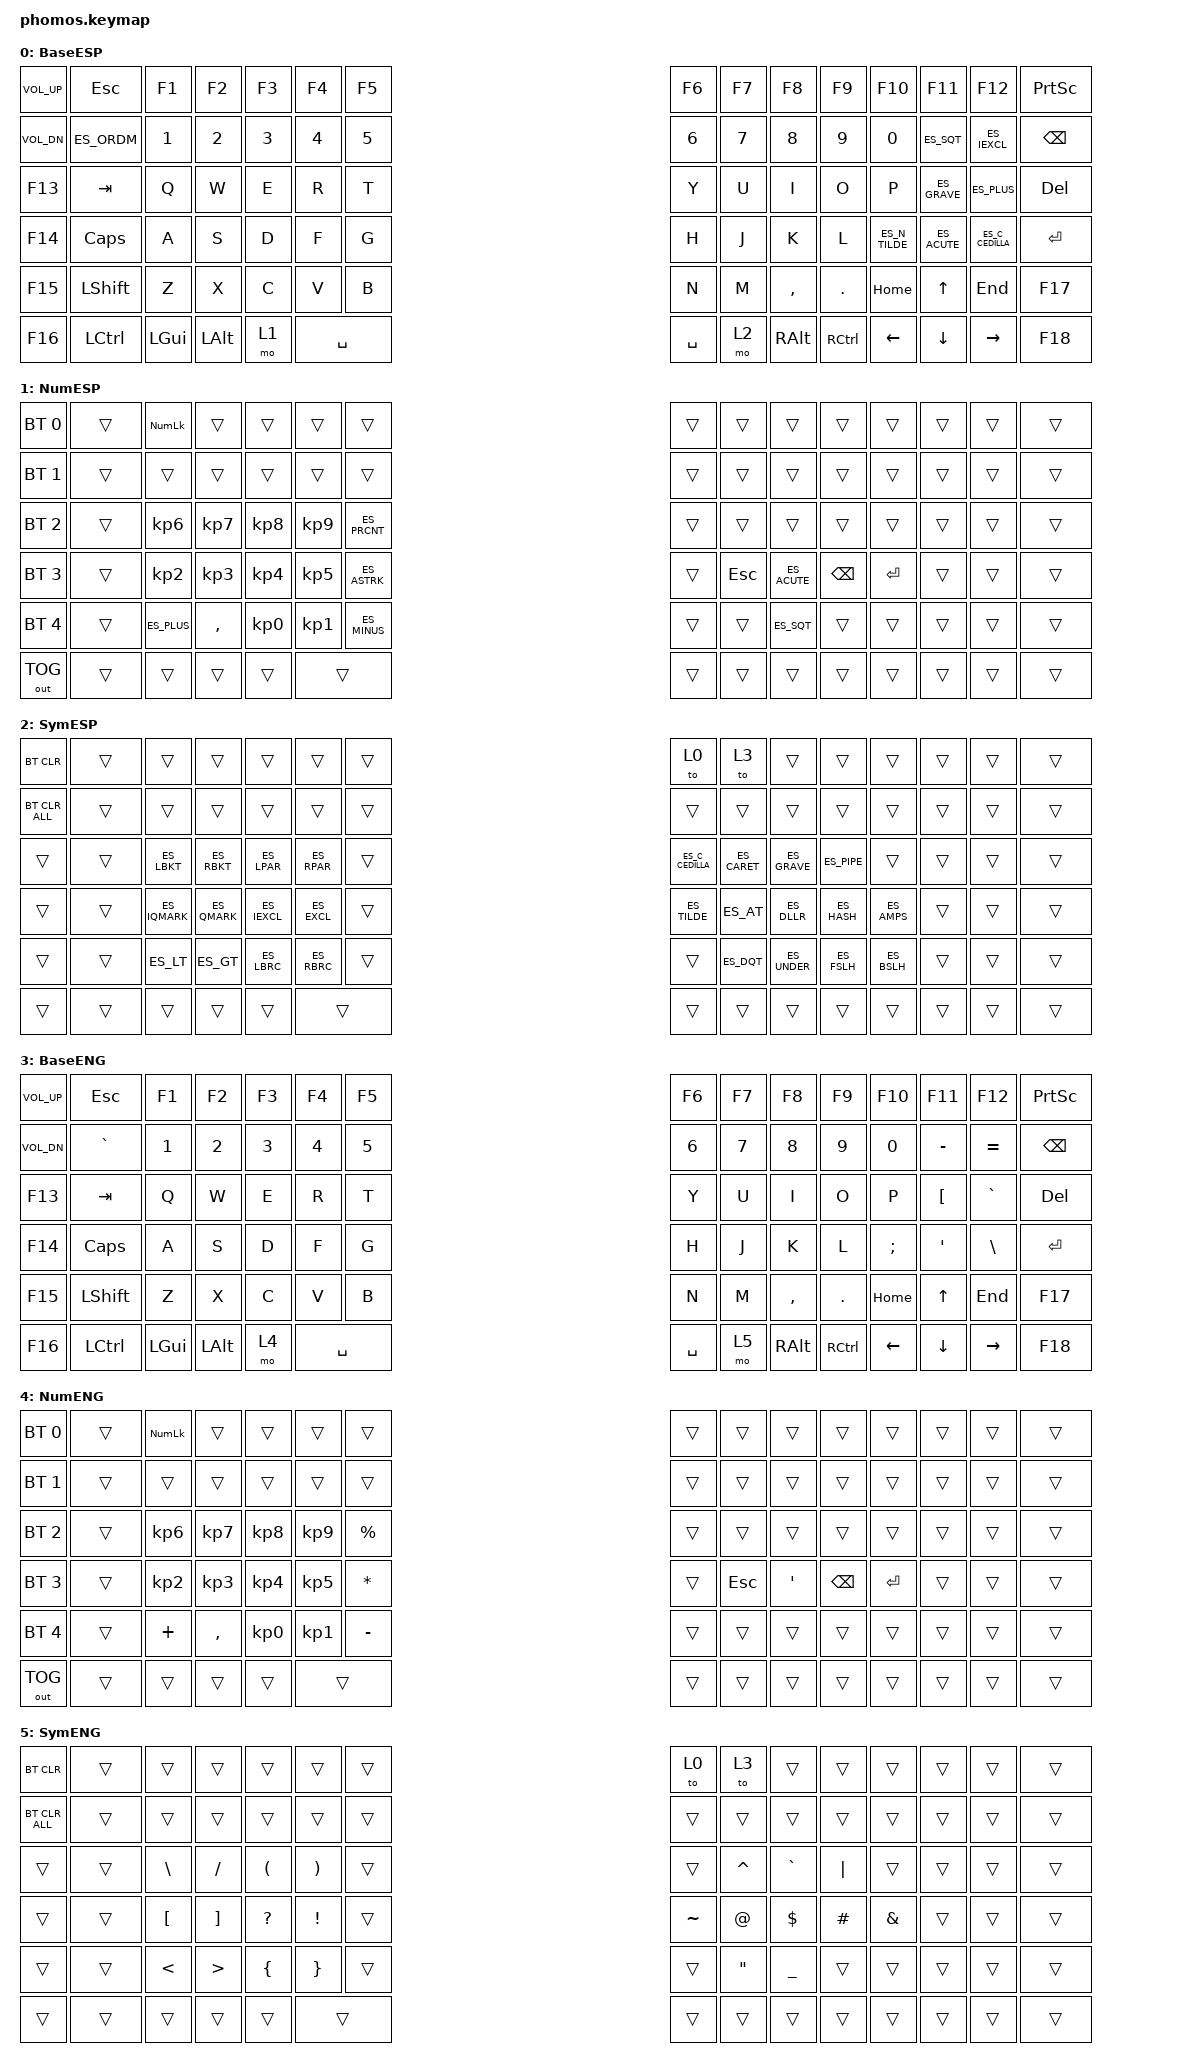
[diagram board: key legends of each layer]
/*
 * Copyright (c) 2020 The ZMK Contributors
 *
 * SPDX-License-Identifier: MIT
 */

#include <behaviors.dtsi>
#include <dt-bindings/zmk/keys.h>
#include <dt-bindings/zmk/bt.h>
#include <dt-bindings/zmk/outputs.h>
#include "keys_es.h"


/ {
        keymap {
                compatible = "zmk,keymap";

                default_layer {
                        display-name = "BaseESP";

// --------------------------------------------------   -----------------------------------------------------------
// |Vup|   esc   |  f1  |  f2  |  f3  |  f4  |  f5  |   |  f6  |  f7  |  f8  |  f9  |  f10 |  f11 |  f12 |  prsc  |
// |Vdo|    º    |  1   |  2   |  3   |  4   |  5   |   |  6   |  7   |  8   |  9   |  0   |  '   |  !   | bkspace|
// | M1|   TAB   |  Q   |  W   |  E   |  R   |  T   |   |  Y   |  U   |  I   |  O   |  P   |  `   |  +   |  Del   |
// | M2|   caps  |  A   |  S   |  D   |  F   |  G   |   |  H   |  J   |  K   |  L   |  Ñ   |  ´   |  -   |  Enter |
// | M3|   shift |  Z   |  X   |  C   |  V   |  B   |   |  N   |  M   |  ,   |  .   |  home|  ↑   |  end |  M5    |
// | M4|   ctrl  |  win |  alt | numLy|    space    |   | space| SymLy|  alt |  ctrl|  ←   |  ↓   |  →   |  M6    |
                        bindings = <
   &kp C_VOL_UP &kp ESC      &kp F1   &kp F2   &kp F3  &kp F4  &kp F5          &kp F6    &kp F7 &kp F8     &kp F9    &kp F10         &kp F11      &kp F12            &kp PSCRN
   &kp C_VOL_DN &kp ES_ORDM  &kp N1   &kp N2   &kp N3  &kp N4  &kp N5          &kp N6    &kp N7 &kp N8     &kp N9    &kp N0          &kp ES_SQT   &kp ES_IEXCL       &kp BSPC
   &kp F13      &kp TAB      &kp Q    &kp W    &kp E   &kp R   &kp T           &kp Y     &kp U  &kp I      &kp O     &kp P           &kp ES_GRAVE &kp ES_PLUS        &kp DEL
   &kp F14      &kp CAPS     &kp A    &kp S    &kp D   &kp F   &kp G           &kp H     &kp J  &kp K      &kp L     &kp ES_N_TILDE  &kp ES_ACUTE &kp ES_C_CEDILLA   &kp ENTER
   &kp F15      &kp LSHFT    &kp Z    &kp X    &kp C   &kp V   &kp B           &kp N     &kp M  &kp COMMA  &kp DOT   &kp HOME        &kp UP       &kp END            &kp F17
   &kp F16      &kp LCTRL    &kp LGUI &kp LALT &mo 1     &kp SPACE             &kp SPACE &mo 2  &kp RALT   &kp RCTRL &kp LEFT        &kp DOWN     &kp RIGHT          &kp F18
                        >;
                };
                number_layer {
                        display-name = "NumESP";

// -------------------------------------------------   -----------------------------------------------------------
// |BT0|        |numlok|      |      |      |      |   |      |      |      |      |      |      |      |        |
// |BT1|        |      |      |      |      |      |   |      |      |      |      |      |      |      |        |
// |BT2|        |  6   |  7   |  8   |  9   |  %   |   |      |      |      |      |      |      |      |        |
// |BT3|        |  2   |  3   |  4   |  5   |  *   |   |      | esc  |   ´  |bkspac|Enter |      |      |        |
// |BT4|        |  +   |  ,   |  0   |  1   |  -   |   |      |      |   '  |      |      |      |      |        |
// |USB|        |      |      |      |             |   |      |      |      |      |      |      |      |        |
                        bindings = <  
   &bt BT_SEL 0 &trans         &kp KP_NUM  &trans      &trans        &trans       &trans              &trans   &trans     &trans       &trans       &trans    &trans    &trans        &trans
   &bt BT_SEL 1 &trans         &trans      &trans      &trans        &trans       &trans              &trans   &trans     &trans       &trans       &trans    &trans    &trans        &trans
   &bt BT_SEL 2 &trans         &kp KP_N6   &kp KP_N7   &kp KP_N8     &kp KP_N9    &kp ES_PRCNT        &trans   &trans     &trans       &trans       &trans    &trans    &trans        &trans
   &bt BT_SEL 3 &trans         &kp KP_N2   &kp KP_N3   &kp KP_N4     &kp KP_N5    &kp ES_ASTRK        &trans   &kp ESC    &kp ES_ACUTE &kp BSPC     &kp ENTER &trans    &trans        &trans
   &bt BT_SEL 4 &trans         &kp ES_PLUS &kp COMMA   &kp KP_N0     &kp KP_N1    &kp ES_MINUS        &trans   &trans     &kp ES_SQT   &trans       &trans    &trans    &trans        &trans
   &out OUT_TOG &trans         &trans      &trans      &trans              &trans                     &trans   &trans     &trans       &trans       &trans    &trans    &trans        &trans
                        >;
                };
                Simbol_layer {
                        display-name = "SymESP";

// -------------------------------------------------   -----------------------------------------------------------
// |BtClr|      |      |      |      |      |      |   | ESP  | ENG  |      |      |      |      |      |        |
// |BtClrAll|   |      |      |      |      |      |   |      |      |      |      |      |      |      |        |
// |   |        |  [   |  ]   |  (   |  )   |      |   |  ç   |   ^  |  `   | "|"  |      |      |      |        |
// |   |        |  ¿   |  ?   |  ¡   |  !   |      |   |  ~   |  @   |  $   |  #   |  &   |      |      |        |
// |   |        |  <   |  >   |  {   |  }   |      |   |      |  "   |  _   |  /   |  \   |      |      |        |
// |   |        |      |      |      |             |   |      |      |      |      |      |      |      |        |
                        bindings = <  
   &bt BT_CLR       &trans     &trans        &trans       &trans        &trans       &trans              &to 0            &to 3        &trans       &trans       &trans      &trans    &trans        &trans
   &bt BT_CLR_ALL   &trans     &trans        &trans       &trans        &trans       &trans              &trans           &trans       &trans       &trans       &trans      &trans    &trans        &trans
   &trans           &trans     &kp ES_LBKT   &kp ES_RBKT  &kp ES_LPAR   &kp ES_RPAR  &trans              &kp ES_C_CEDILLA &kp ES_CARET &kp ES_GRAVE &kp ES_PIPE  &trans      &trans    &trans        &trans
   &trans           &trans     &kp ES_IQMARK &kp ES_QMARK &kp ES_IEXCL  &kp ES_EXCL  &trans              &kp ES_TILDE     &kp ES_AT    &kp ES_DLLR  &kp ES_HASH  &kp ES_AMPS &trans    &trans        &trans
   &trans           &trans     &kp ES_LT     &kp ES_GT    &kp ES_LBRC   &kp ES_RBRC  &trans              &trans           &kp ES_DQT   &kp ES_UNDER &kp ES_FSLH  &kp ES_BSLH &trans    &trans        &trans
   &trans           &trans     &trans        &trans       &trans              &trans                     &trans           &trans       &trans       &trans       &trans      &trans    &trans        &trans
                        >;
                };



                default_eng {
                        display-name = "BaseENG";

// --------------------------------------------------   -----------------------------------------------------------
// |Vup|   esc   |  f1  |  f2  |  f3  |  f4  |  f5  |   |  f6  |  f7  |  f8  |  f9  |  f10 |  f11 |  f12 |  prsc  |
// |Vdo|    ´    |  1   |  2   |  3   |  4   |  5   |   |  6   |  7   |  8   |  9   |  0   |  -   |  =   | bkspace|
// | M1|   TAB   |  Q   |  W   |  E   |  R   |  T   |   |  Y   |  U   |  I   |  O   |  P   |  [   |  ]   |  Del   |
// | M2|   caps  |  A   |  S   |  D   |  F   |  G   |   |  H   |  J   |  K   |  L   |  ;   |  '   |  \   |  Enter |
// | M3|   shift |  Z   |  X   |  C   |  V   |  B   |   |  N   |  M   |  ,   |  .   |  home|  ↑   |  end |  M5    |
// | M4|   ctrl  |  win |  alt | numLy|    space    |   | space| SymLy|  alt |  ctrl|  ←   |  ↓   |  →   |  M6    |
                        bindings = <
   &kp C_VOL_UP &kp ESC      &kp F1   &kp F2   &kp F3  &kp F4  &kp F5          &kp F6    &kp F7 &kp F8     &kp F9    &kp F10  &kp F11      &kp F12            &kp PSCRN
   &kp C_VOL_DN &kp GRAVE    &kp N1   &kp N2   &kp N3  &kp N4  &kp N5          &kp N6    &kp N7 &kp N8     &kp N9    &kp N0   &kp MINUS    &kp EQUAL          &kp BSPC
   &kp F13      &kp TAB      &kp Q    &kp W    &kp E   &kp R   &kp T           &kp Y     &kp U  &kp I      &kp O     &kp P    &kp LBKT     &kp GRAVE          &kp DEL
   &kp F14      &kp CAPS     &kp A    &kp S    &kp D   &kp F   &kp G           &kp H     &kp J  &kp K      &kp L     &kp SEMI &kp SQT      &kp BSLH           &kp ENTER
   &kp F15      &kp LSHFT    &kp Z    &kp X    &kp C   &kp V   &kp B           &kp N     &kp M  &kp COMMA  &kp DOT   &kp HOME &kp UP       &kp END            &kp F17
   &kp F16      &kp LCTRL    &kp LGUI &kp LALT &mo 4     &kp SPACE             &kp SPACE &mo 5  &kp RALT   &kp RCTRL &kp LEFT &kp DOWN     &kp RIGHT          &kp F18
                        >;
                };

                Number_eng {
                        display-name = "NumENG";

// -------------------------------------------------   -----------------------------------------------------------
// |BT0|        |numlok|      |      |      |      |   |      |      |      |      |      |      |      |        |
// |BT1|        |      |      |      |      |      |   |      |      |      |      |      |      |      |        |
// |BT2|        |  6   |  7   |  8   |  9   |  %   |   |      |      |      |      |      |      |      |        |
// |BT3|        |  2   |  3   |  4   |  5   |  *   |   |      | esc  |   '  |bkspac|Enter |      |      |        |
// |BT4|        |  +   |  ,   |  0   |  1   |  -   |   |      |      |      |      |      |      |      |        |
// |USB|        |      |      |      |             |   |      |      |      |      |      |      |      |        |
                        bindings = <  
   &bt BT_SEL 0 &trans         &kp KP_NUM  &trans      &trans        &trans       &trans              &trans   &trans     &trans       &trans       &trans    &trans    &trans        &trans
   &bt BT_SEL 1 &trans         &trans      &trans      &trans        &trans       &trans              &trans   &trans     &trans       &trans       &trans    &trans    &trans        &trans
   &bt BT_SEL 2 &trans         &kp KP_N6   &kp KP_N7   &kp KP_N8     &kp KP_N9    &kp PRCNT           &trans   &trans     &trans       &trans       &trans    &trans    &trans        &trans
   &bt BT_SEL 3 &trans         &kp KP_N2   &kp KP_N3   &kp KP_N4     &kp KP_N5    &kp ASTRK           &trans   &kp ESC    &kp SQT      &kp BSPC     &kp ENTER &trans    &trans        &trans
   &bt BT_SEL 4 &trans         &kp PLUS    &kp COMMA   &kp KP_N0     &kp KP_N1    &kp MINUS           &trans   &trans     &trans       &trans       &trans    &trans    &trans        &trans
   &out OUT_TOG &trans         &trans      &trans      &trans              &trans                     &trans   &trans     &trans       &trans       &trans    &trans    &trans        &trans
                        >;
                };

                Simbol_eng {
                        display-name = "SymENG";

// -------------------------------------------------   -----------------------------------------------------------
// | BtClr  |   |      |      |      |      |      |   | ESP  | ENG  |      |      |      |      |      |        |
// |BtClrAll|   |      |      |      |      |      |   |      |      |      |      |      |      |      |        |
// |   |        |  \   |  /   |  (   |  )   |      |   |      |  ^   |  `   | "|"  |      |      |      |        |
// |   |        |  [   |  ]   |  ?   |  !   |      |   |  ~   |  @   |  $   |  #   |  &   |      |      |        |
// |   |        |  <   |  >   |  {   |  }   |      |   |      |  "   |  _   |      |      |      |      |        |
// |   |        |      |      |      |             |   |      |      |      |      |      |      |      |        |
                        bindings = <  
   &bt BT_CLR      &trans      &trans      &trans      &trans      &trans    &trans            &to 0         &to 3     &trans    &trans    &trans    &trans    &trans        &trans
   &bt BT_CLR_ALL  &trans      &trans      &trans      &trans      &trans    &trans            &trans        &trans    &trans    &trans    &trans    &trans    &trans        &trans
   &trans          &trans      &kp BSLH    &kp FSLH    &kp LPAR    &kp RPAR  &trans            &trans        &kp CARET &kp GRAVE &kp PIPE  &trans    &trans    &trans        &trans
   &trans          &trans      &kp LBKT    &kp RBKT    &kp QMARK   &kp EXCL  &trans            &kp TILDE     &kp AT    &kp DLLR  &kp HASH  &kp AMPS  &trans    &trans        &trans
   &trans          &trans      &kp LT      &kp GT      &kp LBRC    &kp RBRC  &trans            &trans        &kp DQT   &kp UNDER &trans    &trans    &trans    &trans        &trans
   &trans          &trans      &trans      &trans      &trans        &trans                    &trans        &trans    &trans    &trans    &trans    &trans    &trans        &trans
                        >;
                };

                

        };
};
